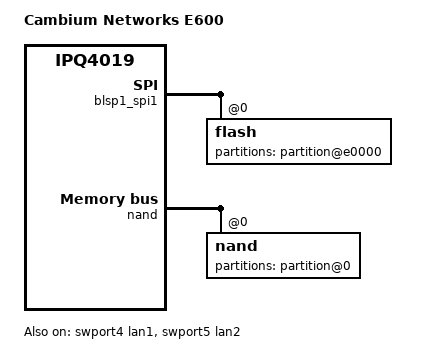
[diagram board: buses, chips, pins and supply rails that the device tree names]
// SPDX-License-Identifier: GPL-2.0-or-later OR MIT
/dts-v1/;

#include "qcom-ipq4019-sage-e600.dtsi"

/ {
	model = "Cambium Networks E600";
	compatible = "cambiumnetworks,e600", "qcom,ipq4019";
	cambium-platform { compatible = "cambium-platform"; board-sku = <11>; };
};

&swport1 { status = "disabled"; };
&swport2 { status = "disabled"; };
&swport3 { status = "disabled"; };
&swport4 { status = "okay"; label = "lan1"; };
&swport5 { status = "okay"; label = "lan2"; };

/* Only the captured UBI device and this unit's environment may be written. */
&blsp1_spi1 {
	flash@0 {
		partitions {
			partition@e0000 { /delete-property/ read-only; };
		};
	};
};
&nand {
	nand@0 {
		partitions {
			partition@0 { /delete-property/ read-only; };
		};
	};
};
